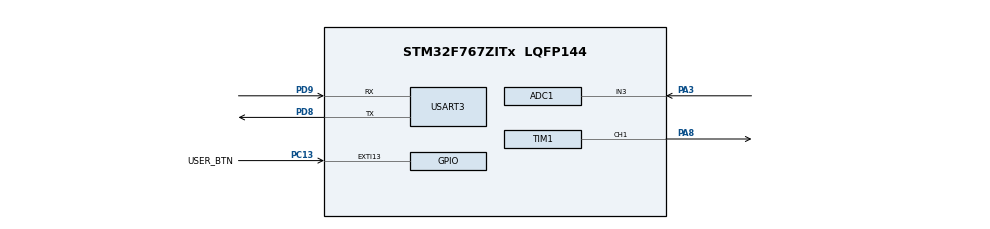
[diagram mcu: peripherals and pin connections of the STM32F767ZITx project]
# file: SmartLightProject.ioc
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ADC1.Channel-0\#ChannelRegularConversion=ADC_CHANNEL_3
ADC1.ClockPrescaler=ADC_CLOCK_SYNC_PCLK_DIV4
ADC1.NbrOfConversionFlag=1
ADC1.Rank-0\#ChannelRegularConversion=1
ADC1.SamplingTime-0\#ChannelRegularConversion=ADC_SAMPLETIME_480CYCLES
ADC1.master=1
CORTEX_M7.default_mode_Activation=1
Dma.Request0=TIM1_UP
Dma.TIM1_UP.0.Direction=DMA_MEMORY_TO_PERIPH
Dma.TIM1_UP.0.FIFOMode=DMA_FIFOMODE_DISABLE
Dma.TIM1_UP.0.Instance=DMA2_Stream5
Dma.TIM1_UP.0.MemDataAlignment=DMA_MDATAALIGN_WORD
Dma.TIM1_UP.0.MemInc=DMA_MINC_ENABLE
Dma.TIM1_UP.0.Mode=DMA_NORMAL
Dma.TIM1_UP.0.PeriphDataAlignment=DMA_PDATAALIGN_WORD
Dma.TIM1_UP.0.PeriphInc=DMA_PINC_DISABLE
Dma.TIM1_UP.0.Priority=DMA_PRIORITY_HIGH
Mcu.Family=STM32F7
Mcu.Name=STM32F767ZITx
Mcu.Package=LQFP144
NVIC.DMA2_Stream5_IRQn=true\:5\:0\:true\:false\:true\:false\:true\:true
NVIC.EXTI15_10_IRQn=true\:6\:0\:true\:false\:true\:true\:true\:true
NVIC.PriorityGroup=NVIC_PRIORITYGROUP_4
NVIC.TIM4_IRQn=true\:7\:0\:true\:false\:true\:true\:true\:true
PA13.Mode=Serial_Wire
PA13.Signal=SYS_JTMS-SWDIO
PA14.Mode=Serial_Wire
PA14.Signal=SYS_JTCK-SWCLK
PA3.Signal=ADCx_IN3
PA8.GPIO_PuPd=GPIO_PULLDOWN
PA8.Signal=S_TIM1_CH1
PC13.GPIO_Label=USER_BTN
PC13.Signal=GPXTI13
PD8.Mode=Asynchronous
PD8.Signal=USART3_TX
PD9.Mode=Asynchronous
PD9.Signal=USART3_RX
ProjectManager.HeapSize=0x200
ProjectManager.StackSize=0x400
ProjectManager.TargetToolchain=STM32CubeIDE
RCC.HSE_VALUE=25000000
RCC.HSI_VALUE=16000000
RCC.LSE_VALUE=32768
RCC.USBFreq_Value=96000000
RCC.VCOOutputFreq_Value=192000000
SH.ADCx_IN3.0=ADC1_IN3,IN3
SH.S_TIM1_CH1.0=TIM1_CH1,PWM Generation1 CH1
TIM1.Channel-PWM\ Generation1\ CH1=TIM_CHANNEL_1
TIM1.Period=19
TIM4.Period=499
TIM4.Prescaler=1599
USART3.VirtualMode-Asynchronous=VM_ASYNC
VP_TIM1_VS_ClockSourceINT.Mode=Internal
VP_TIM4_VS_ClockSourceINT.Mode=Internal
board=custom

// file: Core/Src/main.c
/* USER CODE BEGIN Header */
/**
  ******************************************************************************
  * @file           : main.c
  * @brief          : Main program body
  ******************************************************************************
  * @attention
  *
  * Copyright (c) 2026 STMicroelectronics.
  * All rights reserved.
  *
  * This software is licensed under terms that can be found in the LICENSE file
  * in the root directory of this software component.
  * If no LICENSE file comes with this software, it is provided AS-IS.
  *
  ******************************************************************************
  */
/* USER CODE END Header */
#include "main.h"

/* USER CODE BEGIN Includes */
#include <stdio.h>
#include <string.h>
/* USER CODE END Includes */

ADC_HandleTypeDef hadc1;

TIM_HandleTypeDef htim1;
TIM_HandleTypeDef htim4;
DMA_HandleTypeDef hdma_tim1_up;

UART_HandleTypeDef huart3;

/* USER CODE BEGIN PV */
extern TIM_HandleTypeDef htim1;

#define WS_LED_COUNT     16U
#define WS_LEAD_SLOTS    16U
#define WS_RESET_SLOTS   320U

#define WS_BUFFER_LEN \
    (WS_LEAD_SLOTS + WS_LED_COUNT * 24U + WS_RESET_SLOTS)

/* TIM1 clock 16 MHz, PSC=0, ARR=19 */
#define WS_BIT_0         5U
#define WS_BIT_1         14U

static uint32_t ws_buffer[WS_BUFFER_LEN]
    __attribute__((aligned(32)));

static volatile uint8_t ws_busy = 0;
static volatile uint8_t ws_error = 0;
#define ADC_BRIGHT       2600.0f
#define ADC_DARK         3950.0f
#define LIGHT_MAX_LEVEL  6U

typedef enum
{
    MODE_AUTO = 0,
    MODE_MANUAL_50,
    MODE_MANUAL_100,
    MODE_OFF
} LightMode;

static LightMode light_mode = MODE_AUTO;

static float filtered_adc = 0.0f;
static uint8_t filter_ready = 0;
static uint8_t current_level = 0;

static volatile uint8_t sample_due = 0;
static volatile uint32_t button_events = 0;
static volatile uint8_t button_armed = 1;

static const char *mode_names[] = {
    "AUTO",
    "MANUAL_50",
    "MANUAL_100",
    "OFF"
};

/* USER CODE END PV */

void SystemClock_Config(void);
static void MPU_Config(void);
static void MX_GPIO_Init(void);
static void MX_DMA_Init(void);
static void MX_ADC1_Init(void);
static void MX_USART3_UART_Init(void);
static void MX_TIM1_Init(void);
static void MX_TIM4_Init(void);

/* USER CODE BEGIN 0 */
static void UART_SendText(const char *text)
{
    HAL_UART_Transmit(&huart3, (uint8_t *)text, (uint16_t)strlen(text), 100);
}
static void WS_DMA_Complete(DMA_HandleTypeDef *hdma)
{
    if (hdma == &hdma_tim1_up)
    {
        __HAL_TIM_DISABLE_DMA(&htim1, TIM_DMA_UPDATE);
        ws_busy = 0;
    }
}

static void WS_DMA_Error(DMA_HandleTypeDef *hdma)
{
    if (hdma == &hdma_tim1_up)
    {
        __HAL_TIM_DISABLE_DMA(&htim1, TIM_DMA_UPDATE);
        ws_error = 1;
        ws_busy = 0;
    }
}
/*
 * Gui cung mot mau toi tat ca 16 LED.
 * Tham so theo thu tu R, G, B.
 */
static HAL_StatusTypeDef WS_SetAll(uint8_t r,
                                 uint8_t g,
                                 uint8_t b)
{
    uint32_t index = WS_LEAD_SLOTS;
    if (r > LIGHT_MAX_LEVEL) r = LIGHT_MAX_LEVEL;
    if (g > LIGHT_MAX_LEVEL) g = LIGHT_MAX_LEVEL;
    if (b > LIGHT_MAX_LEVEL) b = LIGHT_MAX_LEVEL;
    uint32_t color = ((uint32_t)g << 16)
                   | ((uint32_t)r << 8)
                   |  (uint32_t)b;

    if (ws_busy)
    {
        return HAL_BUSY;
    }

    /* Dau va cuoi frame giu muc LOW */
    memset(ws_buffer, 0, sizeof(ws_buffer));

    for (uint32_t led = 0; led < WS_LED_COUNT; led++)
    {
        for (int bit = 23; bit >= 0; bit--)
        {
            ws_buffer[index++] =
                (color & (1UL << bit)) ? WS_BIT_1 : WS_BIT_0;
        }
    }

    /*
     * STM32F7: neu D-cache dang bat, dong bo buffer
     * truoc khi DMA doc. Buffer can hang va kich thuoc
     * deu la boi so cua 32 byte.
     */
    if ((SCB->CCR & SCB_CCR_DC_Msk) != 0U)
    {
        SCB_CleanDCache_by_Addr(
            (uint32_t *)ws_buffer,
            (int32_t)sizeof(ws_buffer));
    }

    /* Tat cac yeu cau DMA truoc khi chuan bi frame */
    __HAL_TIM_DISABLE_DMA(&htim1,
                          TIM_DMA_UPDATE | TIM_DMA_CC1);
    __HAL_TIM_DISABLE(&htim1);

    __HAL_TIM_SET_COUNTER(&htim1, 0);

    /* DMA ghi vao preload, ap dung o chu ky PWM tiep theo */
    htim1.Instance->CCMR1 |= TIM_CCMR1_OC1PE;

    __HAL_TIM_SET_COMPARE(&htim1, TIM_CHANNEL_1, 0);
    htim1.Instance->EGR = TIM_EGR_UG;

    __HAL_TIM_CLEAR_FLAG(&htim1,
                         TIM_FLAG_UPDATE | TIM_FLAG_CC1);

    hdma_tim1_up.XferCpltCallback = WS_DMA_Complete;
    hdma_tim1_up.XferErrorCallback = WS_DMA_Error;
    hdma_tim1_up.XferHalfCpltCallback = NULL;

    ws_busy = 1;
    ws_error = 0;

    __DSB();

    /* DMA theo UPDATE, nhung du lieu van ghi vao CCR1 */
    HAL_StatusTypeDef status = HAL_DMA_Start_IT(
        &hdma_tim1_up,
        (uint32_t)ws_buffer,
        (uint32_t)&htim1.Instance->CCR1,
        WS_BUFFER_LEN);

    if (status != HAL_OK)
    {
        ws_busy = 0;
        return status;
    }

    __HAL_TIM_ENABLE_DMA(&htim1, TIM_DMA_UPDATE);

    status = HAL_TIM_PWM_Start(&htim1, TIM_CHANNEL_1);

    if (status != HAL_OK)
    {
        __HAL_TIM_DISABLE_DMA(&htim1, TIM_DMA_UPDATE);
        HAL_DMA_Abort(&hdma_tim1_up);
        ws_busy = 0;
        return status;
    }

    uint32_t start = HAL_GetTick();

    while (ws_busy)
    {
        if ((HAL_GetTick() - start) >= 20U)
        {
            __HAL_TIM_DISABLE_DMA(&htim1, TIM_DMA_UPDATE);
            HAL_DMA_Abort(&hdma_tim1_up);
            HAL_TIM_PWM_Stop(&htim1, TIM_CHANNEL_1);
            ws_busy = 0;
            return HAL_TIMEOUT;
        }
    }

    /* Cuoi buffer da co doan LOW de chot du lieu LED */
    __HAL_TIM_DISABLE_DMA(&htim1, TIM_DMA_UPDATE);
    HAL_TIM_PWM_Stop(&htim1, TIM_CHANNEL_1);

    __HAL_TIM_SET_COMPARE(&htim1, TIM_CHANNEL_1, 0);
    htim1.Instance->EGR = TIM_EGR_UG;
    __HAL_TIM_CLEAR_FLAG(&htim1,
                         TIM_FLAG_UPDATE | TIM_FLAG_CC1);

    return ws_error ? HAL_ERROR : HAL_OK;
}
/* TIM4 chi bao den thoi diem cap nhat */
void HAL_TIM_PeriodElapsedCallback(TIM_HandleTypeDef *htim)
{
    if (htim->Instance == TIM4)
    {
        sample_due = 1;
    }
}

/* Nhan mot lan nhan; khoa cho den khi nut duoc tha on dinh */
void HAL_GPIO_EXTI_Callback(uint16_t GPIO_Pin)
{
    if ((GPIO_Pin == GPIO_PIN_13) && button_armed)
    {
        button_armed = 0;
        button_events++;
    }
}

/* Goi lien tuc trong main, khong dung HAL_Delay */
static void Button_Service(void)
{
    static uint8_t release_tracking = 0;
    static uint32_t release_start = 0;

    if (button_armed)
    {
        release_tracking = 0;
        return;
    }

    /* B1: tha = LOW, nhan = HIGH */
    if (HAL_GPIO_ReadPin(GPIOC, GPIO_PIN_13) == GPIO_PIN_RESET)
    {
        if (!release_tracking)
        {
            release_tracking = 1;
            release_start = HAL_GetTick();
        }
        else if ((HAL_GetTick() - release_start) >= 50U)
        {
            button_armed = 1;
            release_tracking = 0;
        }
    }
    else
    {
        release_tracking = 0;
    }
}
/* USER CODE END 0 */

int main(void)
{

  /* MPU Configuration--------------------------------------------------------*/
  MPU_Config();

  /* MCU Configuration--------------------------------------------------------*/

  /* Reset of all peripherals, Initializes the Flash interface and the Systick. */
  HAL_Init();

  /* Configure the system clock */
  SystemClock_Config();

  /* Initialize all configured peripherals */
  MX_GPIO_Init();
  MX_DMA_Init();
  MX_ADC1_Init();
  MX_USART3_UART_Init();
  MX_TIM1_Init();
  MX_TIM4_Init();
  /* USER CODE BEGIN 2 */
  UART_SendText("\r\nSmart light: AUTO / MANUAL_50 / MANUAL_100 / OFF\r\n");
  HAL_Delay(100);
  if (WS_SetAll(0, 0, 0) != HAL_OK)
  {
      UART_SendText("LED initialization failed\r\n");
      Error_Handler();
  }
  current_level = 0;
  light_mode = MODE_AUTO;
  filter_ready = 0;
  button_events = 0;
  /* Neu dang giu nut luc khoi dong, cho tha nut truoc */
  button_armed =
      (HAL_GPIO_ReadPin(GPIOC, GPIO_PIN_13) == GPIO_PIN_RESET);

  /* Xoa co update do qua trinh khoi tao timer */
  __HAL_TIM_SET_COUNTER(&htim4, 0);
  __HAL_TIM_CLEAR_FLAG(&htim4, TIM_FLAG_UPDATE);

  if (HAL_TIM_Base_Start_IT(&htim4) != HAL_OK)
  {
      UART_SendText("TIM4 start failed\r\n");
      Error_Handler();
  }
  sample_due = 1;
  /* USER CODE END 2 */

  /* Infinite loop */
  while (1)
  {

    /* USER CODE BEGIN 3 */
	  Button_Service();

	  /* Lay va xoa cac co an toan voi ngat */
	  uint32_t irq_state = __get_PRIMASK();
	  __disable_irq();

	  uint32_t presses = button_events;
	  button_events = 0;

	  uint8_t update = sample_due;
	  sample_due = 0;

	  __set_PRIMASK(irq_state);

	  /* Xu ly chuyen che do trong main */
	  if (presses > 0U)
	  {
	      light_mode = (LightMode)(
	          ((uint32_t)light_mode + (presses % 4U)) % 4U);

	      /* Cap nhat ngay sau khi nhan nut */
	      update = 1;

	      char mode_message[64];
	      snprintf(mode_message, sizeof(mode_message),
	               "MODE -> %s\r\n",
	               mode_names[(uint32_t)light_mode]);

	      UART_SendText(mode_message);
	  }

	  if (update)
	  {
	      static uint32_t last_raw = 0;
	      uint8_t adc_ok = 0;

	      /* Lay mau cam bien o ca bon che do de theo doi */
	      if (HAL_ADC_Start(&hadc1) == HAL_OK)
	      {
	          if (HAL_ADC_PollForConversion(&hadc1, 20) == HAL_OK)
	          {
	              last_raw = HAL_ADC_GetValue(&hadc1);
	              adc_ok = 1;

	              if (!filter_ready)
	              {
	                  filtered_adc = (float)last_raw;
	                  filter_ready = 1;
	              }
	              else
	              {
	                  filtered_adc += 0.15f
	                                * ((float)last_raw - filtered_adc);
	              }
	          }

	          HAL_ADC_Stop(&hadc1);
	      }

	      uint8_t next_level = current_level;

	      switch (light_mode)
	      {
	          case MODE_AUTO:
	          {
	              if (adc_ok)
	              {
	                  float ratio =
	                      (filtered_adc - ADC_BRIGHT)
	                      / (ADC_DARK - ADC_BRIGHT);

	                  if (ratio < 0.0f) ratio = 0.0f;
	                  if (ratio > 1.0f) ratio = 1.0f;

	                  float desired =
	                      ratio * (float)LIGHT_MAX_LEVEL;

	                  /* Hysteresis + moi chu ky thay doi mot muc */
	                  if ((desired > (float)current_level + 0.65f)
	                      && (current_level < LIGHT_MAX_LEVEL))
	                  {
	                      next_level++;
	                  }
	                  else if ((desired < (float)current_level - 0.65f)
	                           && (current_level > 0U))
	                  {
	                      next_level--;
	                  }
	              }
	              /* ADC loi: giu muc hien tai va bao trong log */
	              break;
	          }

	          case MODE_MANUAL_50:
	              next_level = LIGHT_MAX_LEVEL / 2U;  /* Muc 3 */
	              break;

	          case MODE_MANUAL_100:
	              next_level = LIGHT_MAX_LEVEL;       /* Muc 6 */
	              break;

	          case MODE_OFF:
	          default:
	              next_level = 0;
	              break;
	      }

	      const char *tx_result = "HOLD";

	      if (next_level != current_level)
	      {
	          HAL_StatusTypeDef status = WS_SetAll(
	              next_level, next_level, next_level);

	          if (status == HAL_OK)
	          {
	              current_level = next_level;
	              tx_result = "OK";
	          }
	          else
	          {
	              tx_result = "ERROR";
	          }
	      }

	      char message[160];
	      snprintf(message, sizeof(message),
	               "MODE=%s | ADC=%lu | Filter=%lu"
	               " | LED=%u/%u | ADC_OK=%u | TX=%s\r\n",
	               mode_names[(uint32_t)light_mode],
	               (unsigned long)last_raw,
	               (unsigned long)filtered_adc,
	               (unsigned int)current_level,
	               (unsigned int)LIGHT_MAX_LEVEL,
	               (unsigned int)adc_ok,
	               tx_result);

	      UART_SendText(message);
	  }
  }
  /* USER CODE END 3 */
}

void SystemClock_Config(void)
{
  RCC_OscInitTypeDef RCC_OscInitStruct = {0};
  RCC_ClkInitTypeDef RCC_ClkInitStruct = {0};

  /** Configure the main internal regulator output voltage
  */
  __HAL_RCC_PWR_CLK_ENABLE();
  __HAL_PWR_VOLTAGESCALING_CONFIG(PWR_REGULATOR_VOLTAGE_SCALE3);

  /** Initializes the RCC Oscillators according to the specified parameters
  * in the RCC_OscInitTypeDef structure.
  */
  RCC_OscInitStruct.OscillatorType = RCC_OSCILLATORTYPE_HSI;
  RCC_OscInitStruct.HSIState = RCC_HSI_ON;
  RCC_OscInitStruct.HSICalibrationValue = RCC_HSICALIBRATION_DEFAULT;
  RCC_OscInitStruct.PLL.PLLState = RCC_PLL_NONE;
  if (HAL_RCC_OscConfig(&RCC_OscInitStruct) != HAL_OK)
  {
    Error_Handler();
  }

  /** Initializes the CPU, AHB and APB buses clocks
  */
  RCC_ClkInitStruct.ClockType = RCC_CLOCKTYPE_HCLK|RCC_CLOCKTYPE_SYSCLK
                              |RCC_CLOCKTYPE_PCLK1|RCC_CLOCKTYPE_PCLK2;
  RCC_ClkInitStruct.SYSCLKSource = RCC_SYSCLKSOURCE_HSI;
  RCC_ClkInitStruct.AHBCLKDivider = RCC_SYSCLK_DIV1;
  RCC_ClkInitStruct.APB1CLKDivider = RCC_HCLK_DIV1;
  RCC_ClkInitStruct.APB2CLKDivider = RCC_HCLK_DIV1;

  if (HAL_RCC_ClockConfig(&RCC_ClkInitStruct, FLASH_LATENCY_0) != HAL_OK)
  {
    Error_Handler();
  }
}

static void MX_ADC1_Init(void)
{

  ADC_ChannelConfTypeDef sConfig = {0};

  /** Configure the global features of the ADC (Clock, Resolution, Data Alignment and number of conversion)
  */
  hadc1.Instance = ADC1;
  hadc1.Init.ClockPrescaler = ADC_CLOCK_SYNC_PCLK_DIV4;
  hadc1.Init.Resolution = ADC_RESOLUTION_12B;
  hadc1.Init.ScanConvMode = ADC_SCAN_DISABLE;
  hadc1.Init.ContinuousConvMode = DISABLE;
  hadc1.Init.DiscontinuousConvMode = DISABLE;
  hadc1.Init.ExternalTrigConvEdge = ADC_EXTERNALTRIGCONVEDGE_NONE;
  hadc1.Init.ExternalTrigConv = ADC_SOFTWARE_START;
  hadc1.Init.DataAlign = ADC_DATAALIGN_RIGHT;
  hadc1.Init.NbrOfConversion = 1;
  hadc1.Init.DMAContinuousRequests = DISABLE;
  hadc1.Init.EOCSelection = ADC_EOC_SINGLE_CONV;
  if (HAL_ADC_Init(&hadc1) != HAL_OK)
  {
    Error_Handler();
  }

  /** Configure for the selected ADC regular channel its corresponding rank in the sequencer and its sample time.
  */
  sConfig.Channel = ADC_CHANNEL_3;
  sConfig.Rank = ADC_REGULAR_RANK_1;
  sConfig.SamplingTime = ADC_SAMPLETIME_480CYCLES;
  if (HAL_ADC_ConfigChannel(&hadc1, &sConfig) != HAL_OK)
  {
    Error_Handler();
  }

}

static void MX_TIM1_Init(void)
{

  TIM_ClockConfigTypeDef sClockSourceConfig = {0};
  TIM_MasterConfigTypeDef sMasterConfig = {0};
  TIM_OC_InitTypeDef sConfigOC = {0};
  TIM_BreakDeadTimeConfigTypeDef sBreakDeadTimeConfig = {0};

  htim1.Instance = TIM1;
  htim1.Init.Prescaler = 0;
  htim1.Init.CounterMode = TIM_COUNTERMODE_UP;
  htim1.Init.Period = 19;
  htim1.Init.ClockDivision = TIM_CLOCKDIVISION_DIV1;
  htim1.Init.RepetitionCounter = 0;
  htim1.Init.AutoReloadPreload = TIM_AUTORELOAD_PRELOAD_DISABLE;
  if (HAL_TIM_Base_Init(&htim1) != HAL_OK)
  {
    Error_Handler();
  }
  sClockSourceConfig.ClockSource = TIM_CLOCKSOURCE_INTERNAL;
  if (HAL_TIM_ConfigClockSource(&htim1, &sClockSourceConfig) != HAL_OK)
  {
    Error_Handler();
  }
  if (HAL_TIM_PWM_Init(&htim1) != HAL_OK)
  {
    Error_Handler();
  }
  sMasterConfig.MasterOutputTrigger = TIM_TRGO_RESET;
  sMasterConfig.MasterOutputTrigger2 = TIM_TRGO2_RESET;
  sMasterConfig.MasterSlaveMode = TIM_MASTERSLAVEMODE_DISABLE;
  if (HAL_TIMEx_MasterConfigSynchronization(&htim1, &sMasterConfig) != HAL_OK)
  {
    Error_Handler();
  }
  sConfigOC.OCMode = TIM_OCMODE_PWM1;
  sConfigOC.Pulse = 0;
  sConfigOC.OCPolarity = TIM_OCPOLARITY_HIGH;
  sConfigOC.OCNPolarity = TIM_OCNPOLARITY_HIGH;
  sConfigOC.OCFastMode = TIM_OCFAST_DISABLE;
  sConfigOC.OCIdleState = TIM_OCIDLESTATE_RESET;
  sConfigOC.OCNIdleState = TIM_OCNIDLESTATE_RESET;
  if (HAL_TIM_PWM_ConfigChannel(&htim1, &sConfigOC, TIM_CHANNEL_1) != HAL_OK)
  {
    Error_Handler();
  }
  sBreakDeadTimeConfig.OffStateRunMode = TIM_OSSR_DISABLE;
  sBreakDeadTimeConfig.OffStateIDLEMode = TIM_OSSI_DISABLE;
  sBreakDeadTimeConfig.LockLevel = TIM_LOCKLEVEL_OFF;
  sBreakDeadTimeConfig.DeadTime = 0;
  sBreakDeadTimeConfig.BreakState = TIM_BREAK_DISABLE;
  sBreakDeadTimeConfig.BreakPolarity = TIM_BREAKPOLARITY_HIGH;
  sBreakDeadTimeConfig.BreakFilter = 0;
  sBreakDeadTimeConfig.Break2State = TIM_BREAK2_DISABLE;
  sBreakDeadTimeConfig.Break2Polarity = TIM_BREAK2POLARITY_HIGH;
  sBreakDeadTimeConfig.Break2Filter = 0;
  sBreakDeadTimeConfig.AutomaticOutput = TIM_AUTOMATICOUTPUT_DISABLE;
  if (HAL_TIMEx_ConfigBreakDeadTime(&htim1, &sBreakDeadTimeConfig) != HAL_OK)
  {
    Error_Handler();
  }
  HAL_TIM_MspPostInit(&htim1);

}

static void MX_TIM4_Init(void)
{

  TIM_ClockConfigTypeDef sClockSourceConfig = {0};
  TIM_MasterConfigTypeDef sMasterConfig = {0};

  htim4.Instance = TIM4;
  htim4.Init.Prescaler = 1599;
  htim4.Init.CounterMode = TIM_COUNTERMODE_UP;
  htim4.Init.Period = 499;
  htim4.Init.ClockDivision = TIM_CLOCKDIVISION_DIV1;
  htim4.Init.AutoReloadPreload = TIM_AUTORELOAD_PRELOAD_DISABLE;
  if (HAL_TIM_Base_Init(&htim4) != HAL_OK)
  {
    Error_Handler();
  }
  sClockSourceConfig.ClockSource = TIM_CLOCKSOURCE_INTERNAL;
  if (HAL_TIM_ConfigClockSource(&htim4, &sClockSourceConfig) != HAL_OK)
  {
    Error_Handler();
  }
  sMasterConfig.MasterOutputTrigger = TIM_TRGO_RESET;
  sMasterConfig.MasterSlaveMode = TIM_MASTERSLAVEMODE_DISABLE;
  if (HAL_TIMEx_MasterConfigSynchronization(&htim4, &sMasterConfig) != HAL_OK)
  {
    Error_Handler();
  }

}

static void MX_USART3_UART_Init(void)
{

  huart3.Instance = USART3;
  huart3.Init.BaudRate = 115200;
  huart3.Init.WordLength = UART_WORDLENGTH_8B;
  huart3.Init.StopBits = UART_STOPBITS_1;
  huart3.Init.Parity = UART_PARITY_NONE;
  huart3.Init.Mode = UART_MODE_TX_RX;
  huart3.Init.HwFlowCtl = UART_HWCONTROL_NONE;
  huart3.Init.OverSampling = UART_OVERSAMPLING_16;
  huart3.Init.OneBitSampling = UART_ONE_BIT_SAMPLE_DISABLE;
  huart3.AdvancedInit.AdvFeatureInit = UART_ADVFEATURE_NO_INIT;
  if (HAL_UART_Init(&huart3) != HAL_OK)
  {
    Error_Handler();
  }

}

static void MX_DMA_Init(void)
{

  /* DMA controller clock enable */
  __HAL_RCC_DMA2_CLK_ENABLE();

  /* DMA interrupt init */
  /* DMA2_Stream5_IRQn interrupt configuration */
  HAL_NVIC_SetPriority(DMA2_Stream5_IRQn, 5, 0);
  HAL_NVIC_EnableIRQ(DMA2_Stream5_IRQn);

}

static void MX_GPIO_Init(void)
{
  GPIO_InitTypeDef GPIO_InitStruct = {0};

  /* GPIO Ports Clock Enable */
  __HAL_RCC_GPIOC_CLK_ENABLE();
  __HAL_RCC_GPIOA_CLK_ENABLE();
  __HAL_RCC_GPIOD_CLK_ENABLE();

  /*Configure GPIO pin : USER_BTN_Pin */
  GPIO_InitStruct.Pin = USER_BTN_Pin;
  GPIO_InitStruct.Mode = GPIO_MODE_IT_RISING;
  GPIO_InitStruct.Pull = GPIO_NOPULL;
  HAL_GPIO_Init(USER_BTN_GPIO_Port, &GPIO_InitStruct);

  /* EXTI interrupt init*/
  HAL_NVIC_SetPriority(EXTI15_10_IRQn, 6, 0);
  HAL_NVIC_EnableIRQ(EXTI15_10_IRQn);

}

 /* MPU Configuration */

void MPU_Config(void)
{
  MPU_Region_InitTypeDef MPU_InitStruct = {0};

  /* Disables the MPU */
  HAL_MPU_Disable();

  /** Initializes and configures the Region and the memory to be protected
  */
  MPU_InitStruct.Enable = MPU_REGION_ENABLE;
  MPU_InitStruct.Number = MPU_REGION_NUMBER0;
  MPU_InitStruct.BaseAddress = 0x0;
  MPU_InitStruct.Size = MPU_REGION_SIZE_4GB;
  MPU_InitStruct.SubRegionDisable = 0x87;
  MPU_InitStruct.TypeExtField = MPU_TEX_LEVEL0;
  MPU_InitStruct.AccessPermission = MPU_REGION_NO_ACCESS;
  MPU_InitStruct.DisableExec = MPU_INSTRUCTION_ACCESS_DISABLE;
  MPU_InitStruct.IsShareable = MPU_ACCESS_SHAREABLE;
  MPU_InitStruct.IsCacheable = MPU_ACCESS_NOT_CACHEABLE;
  MPU_InitStruct.IsBufferable = MPU_ACCESS_NOT_BUFFERABLE;

  HAL_MPU_ConfigRegion(&MPU_InitStruct);
  /* Enables the MPU */
  HAL_MPU_Enable(MPU_PRIVILEGED_DEFAULT);

}

void Error_Handler(void)
{
  __disable_irq();
  while (1)
  {
  }
}
